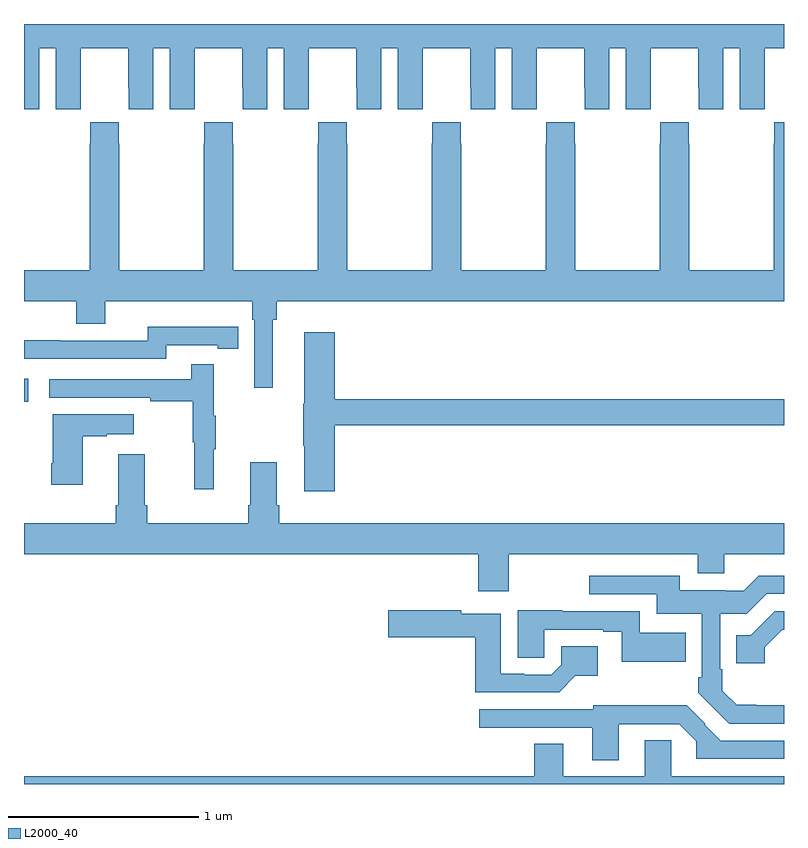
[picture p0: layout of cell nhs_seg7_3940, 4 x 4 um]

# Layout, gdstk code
import gdstk
lib = gdstk.Library(unit=1e-6, precision=1e-09)
def R(c, l, rs):  # rectangles x0, y0, x1, y1
    for r in rs: c.add(gdstk.rectangle(r[:2], r[2:], *l))
def P(c, l, *ps):  # polygons
    for p in ps: c.add(gdstk.Polygon(p, *l))
L2000_40 = (2000, 40)

nhs_seg7_3940 = lib.new_cell('nhs_seg7_3940')
R(nhs_seg7_3940, L2000_40, [(359,1076.013,359.023,1076.134)])
P(nhs_seg7_3940, L2000_40, [(360.749,1077.664),(360.75,1077.664),(360.75,1077.552),(360.88,1077.552),(360.88,1077.872),(360.968,1077.872),(360.968,1077.552),(361.098,1077.552),(361.098,1077.664),(361.099,1077.664),(361.099,1077.872),(361.349,1077.872),(361.349,1077.664),(361.35,1077.664),(361.35,1077.552),(361.48,1077.552),(361.48,1077.872),(361.568,1077.872),(361.568,1077.552),(361.698,1077.552),(361.698,1077.664),(361.699,1077.664),(361.699,1077.872),(361.949,1077.872),(361.949,1077.664),(361.95,1077.664),(361.95,1077.552),(362.08,1077.552),(362.08,1077.872),(362.168,1077.872),(362.168,1077.552),(362.298,1077.552),(362.298,1077.664),(362.299,1077.664),(362.299,1077.872),(362.549,1077.872),(362.549,1077.664),(362.55,1077.664),(362.55,1077.552),(362.68,1077.552),(362.68,1077.872),(362.768,1077.872),(362.768,1077.552),(362.898,1077.552),(362.898,1077.664),(362.899,1077.664),(362.899,1077.872),(363,1077.872),(363,1078),(359,1078),(359,1077.552),(359.08,1077.552),(359.08,1077.872),(359.168,1077.872),(359.168,1077.552),(359.298,1077.552),(359.298,1077.664),(359.299,1077.664),(359.299,1077.872),(359.549,1077.872),(359.549,1077.664),(359.55,1077.664),(359.55,1077.552),(359.68,1077.552),(359.68,1077.872),(359.768,1077.872),(359.768,1077.552),(359.898,1077.552),(359.898,1077.664),(359.899,1077.664),(359.899,1077.872),(360.149,1077.872),(360.149,1077.664),(360.15,1077.664),(360.15,1077.552),(360.28,1077.552),(360.28,1077.872),(360.368,1077.872),(360.368,1077.552),(360.498,1077.552),(360.498,1077.664),(360.499,1077.664),(360.499,1077.872),(360.749,1077.872)],
  [(363,1077.484),(362.949,1077.484),(362.949,1077.371),(362.947,1077.371),(362.947,1076.704),(362.502,1076.704),(362.502,1077.371),(362.499,1077.371),(362.499,1077.484),(362.349,1077.484),(362.349,1077.371),(362.347,1077.371),(362.347,1076.704),(361.902,1076.704),(361.902,1077.371),(361.899,1077.371),(361.899,1077.484),(361.749,1077.484),(361.749,1077.371),(361.747,1077.371),(361.747,1076.704),(361.302,1076.704),(361.302,1077.371),(361.299,1077.371),(361.299,1077.484),(361.149,1077.484),(361.149,1077.371),(361.147,1077.371),(361.147,1076.704),(360.702,1076.704),(360.702,1077.371),(360.699,1077.371),(360.699,1077.484),(360.549,1077.484),(360.549,1077.371),(360.547,1077.371),(360.547,1076.704),(360.102,1076.704),(360.102,1077.371),(360.099,1077.371),(360.099,1077.484),(359.949,1077.484),(359.949,1077.371),(359.947,1077.371),(359.947,1076.704),(359.502,1076.704),(359.502,1077.371),(359.499,1077.371),(359.499,1077.484),(359.349,1077.484),(359.349,1077.371),(359.347,1077.371),(359.347,1076.704),(359,1076.704),(359,1076.54),(359.276,1076.54),(359.276,1076.423),(359.428,1076.423),(359.428,1076.54),(360.2,1076.54),(360.2,1076.444),(360.213,1076.444),(360.213,1076.085),(360.31,1076.085),(360.31,1076.444),(360.329,1076.444),(360.329,1076.54),(363,1076.54)],
  [(359.748,1076.31),(360.02,1076.31),(360.02,1076.29),(360.128,1076.29),(360.128,1076.406),(360.02,1076.406),(360.02,1076.407),(359.652,1076.407),(359.652,1076.334),(359.192,1076.334),(359.192,1076.336),(359,1076.336),(359,1076.238),(359.748,1076.238)],
  [(360.635,1075.888),(363,1075.888),(363,1076.024),(360.635,1076.024),(360.635,1076.377),(360.476,1076.377),(360.476,1076.001),(360.469,1076.001),(360.469,1075.78),(360.476,1075.78),(360.476,1075.542),(360.635,1075.542)],
  [(359.999,1075.763),(360.01,1075.763),(360.01,1075.937),(359.999,1075.937),(359.999,1076.209),(359.881,1076.209),(359.881,1076.13),(359.133,1076.13),(359.133,1076.034),(359.665,1076.034),(359.665,1076.014),(359.889,1076.014),(359.889,1075.8),(359.896,1075.8),(359.896,1075.551),(359.999,1075.551)],
  [(359.308,1075.831),(359.435,1075.831),(359.435,1075.841),(359.578,1075.841),(359.578,1075.945),(359.15,1075.945),(359.15,1075.687),(359.143,1075.687),(359.143,1075.575),(359.308,1075.575)],
  [(361.551,1075.208),(362.546,1075.208),(362.546,1075.109),(362.686,1075.109),(362.686,1075.208),(363,1075.208),(363,1075.372),(360.344,1075.372),(360.344,1075.468),(360.331,1075.468),(360.331,1075.693),(360.191,1075.693),(360.191,1075.468),(360.179,1075.468),(360.179,1075.372),(359.648,1075.372),(359.648,1075.468),(359.635,1075.468),(359.635,1075.735),(359.495,1075.735),(359.495,1075.468),(359.483,1075.468),(359.483,1075.372),(359,1075.372),(359,1075.208),(361.391,1075.208),(361.391,1075.014),(361.551,1075.014)],
  [(363,1074.414),(362.854,1074.414),(362.854,1074.417),(362.75,1074.417),(362.674,1074.492),(362.674,1074.604),(362.664,1074.604),(362.664,1074.897),(362.805,1074.897),(362.91,1075.002),(363,1075.002),(363,1075.096),(362.866,1075.096),(362.787,1075.017),(362.693,1075.017),(362.693,1075.021),(362.452,1075.021),(362.452,1075.095),(361.974,1075.095),(361.974,1074.999),(362.33,1074.999),(362.33,1074.896),(362.568,1074.896),(362.568,1074.562),(362.548,1074.562),(362.548,1074.481),(362.711,1074.318),(363,1074.318)],
  [(361.902,1074.569),(362.02,1074.569),(362.02,1074.724),(361.827,1074.724),(361.827,1074.627),(361.776,1074.576),(361.634,1074.576),(361.634,1074.579),(361.51,1074.579),(361.51,1074.895),(361.302,1074.895),(361.302,1074.915),(360.918,1074.915),(360.918,1074.773),(361.376,1074.773),(361.376,1074.483),(361.816,1074.483)],
  [(362.483,1074.796),(362.241,1074.796),(362.241,1074.909),(361.834,1074.909),(361.834,1074.914),(361.598,1074.914),(361.598,1074.664),(361.737,1074.664),(361.737,1074.813),(362.048,1074.813),(362.048,1074.801),(362.145,1074.801),(362.145,1074.644),(362.483,1074.644)],
  [(362.899,1074.721),(362.991,1074.813),(363,1074.813),(363,1074.909),(362.951,1074.909),(362.826,1074.784),(362.749,1074.784),(362.749,1074.636),(362.899,1074.636)],
  [(362.131,1074.315),(362.448,1074.315),(362.539,1074.225),(362.539,1074.132),(363,1074.132),(363,1074.228),(362.667,1074.228),(362.582,1074.313),(362.585,1074.316),(362.487,1074.414),(361.995,1074.414),(361.995,1074.393),(361.395,1074.393),(361.395,1074.297),(361.991,1074.297),(361.991,1074.126),(362.131,1074.126)],
  [(363,1074.04),(362.406,1074.04),(362.406,1074.23),(362.267,1074.23),(362.267,1074.04),(361.837,1074.04),(361.837,1074.212),(361.685,1074.212),(361.685,1074.04),(359,1074.04),(359,1074),(363,1074)])

lib.write_gds('nhs_seg7_3940.gds')
